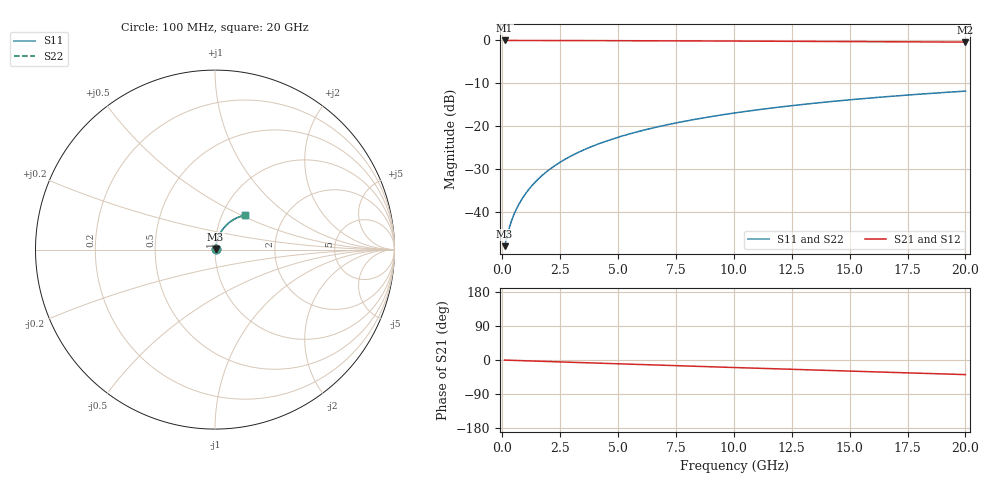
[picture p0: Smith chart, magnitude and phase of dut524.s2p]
! Touchstone file exported from HFSS 2026.1.0
!  File:  C:/ffzhzh/LocalFiles/Ansys_Project_Files/temp_train_TMRDL_524_1783007162_53980.aedt
!  Generated:  11:47:26 PM Jul  2, 2026
!  Design:  TMRDL
!  Project:  temp_train_TMRDL_524_1783007162_53980
! Variables:
!  h_bsmrdl = 2um
!  h_ox = 20um
!  h_rdl = 5um
!  h_sub = 80um
!  h_tmrdl = 3.22um
!  h_tsv = 80um
!  h_via = 3um
!  l_bsmrdl = 300um
!  l_sub = 1021.26um
!  l_tmrdl = 621.26um
!  m_sub = 200um
!  pitch = 33.55um
!  r_tsv = 6um
!  s_tmrdl = 10um
!  w_bsmrdl = 18um
!  w_sub = 500um
!  w_tmrdl = 20.41um
!  x_tsv_center1 = 631.465um
!  x_tsv_center2 = 949.465um
!  x_tsv_center3 = 1591.135um
!  x_tsv_center4 = 1909.135um
!  x_tsv_center5 = 2550.805um
!  x_tsv_center6 = 2868.805um
# GHz S MA R 50.000000
! Terminal data exported
! Port[1] = TM_RDL1_1_T1
! Port[2] = TM_RDL1_1_T2
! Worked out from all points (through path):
!   200 points, 100 MHz to 20 GHz, reference 50 ohm
!   highest |S21| = -0.03 dB at 100 MHz (marker M1); lowest = -0.4 dB at 20 GHz (marker M2)
!   group delay of S21, straight-line fit = 5.35 ps
!   lowest |S11| = -48.0 dB at 100 MHz (marker M3), VSWR 1.01, Z = 50.4 + j0.182 ohm
!   |S11| at or under -10 dB: start of sweep to end of sweep
!   |S22| runs from -48.0 to -11.8 dB; largest |S21 - S12| = 3e-15
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0.1  0.003989 26.9  0.9964 -0.2  0.9964 -0.2  0.003989 26.9
! Gamma 0 0 0 0
! Port Impedance 50 0 50 0
0.3  0.006512 52.0  0.996 -0.6  0.996 -0.6  0.006512 52.0
0.4  0.0079 57.5  0.9958 -0.8  0.9958 -0.8  0.007901 57.5
0.5  0.009282 61.3  0.9957 -1.1  0.9957 -1.1  0.009284 61.3
0.6  0.01066 64.1  0.9955 -1.3  0.9955 -1.3  0.01066 64.1
0.8  0.01344 68.2  0.9953 -1.7  0.9953 -1.7  0.01344 68.2
1  0.01625 70.9  0.9951 -2.1  0.9951 -2.1  0.01625 70.9
1.2  0.01909 72.8  0.995 -2.5  0.995 -2.5  0.01909 72.8
1.4  0.02196 74.2  0.9949 -2.9  0.9949 -2.9  0.02197 74.1
1.7  0.02631 75.5  0.9946 -3.5  0.9946 -3.5  0.02631 75.5
2.2  0.0336 76.6  0.9942 -4.5  0.9942 -4.5  0.0336 76.6
2.8  0.04237 76.9  0.9936 -5.7  0.9936 -5.7  0.04237 76.9
3.5  0.05257 76.6  0.9928 -7.1  0.9928 -7.1  0.05257 76.6
4.2  0.0627 75.9  0.9919 -8.5  0.9919 -8.5  0.0627 75.9
5  0.07414 74.8  0.9906 -10.1  0.9906 -10.1  0.07415 74.8
5.9  0.08684 73.4  0.989 -11.8  0.989 -11.8  0.08684 73.4
6.8  0.09932 71.9  0.9873 -13.6  0.9873 -13.6  0.09933 71.9
8.3  0.1196 69.3  0.9841 -16.5  0.9841 -16.5  0.1196 69.2
10.1  0.1432 66.1  0.9799 -20.0  0.9799 -20.0  0.1432 66.0
13.4  0.184 60.3  0.9715 -26.3  0.9715 -26.3  0.184 60.1
16.7  0.2216 54.4  0.9625 -32.5  0.9625 -32.5  0.2216 54.2
20  0.2558 48.6  0.9531 -38.5  0.9531 -38.5  0.2559 48.4
